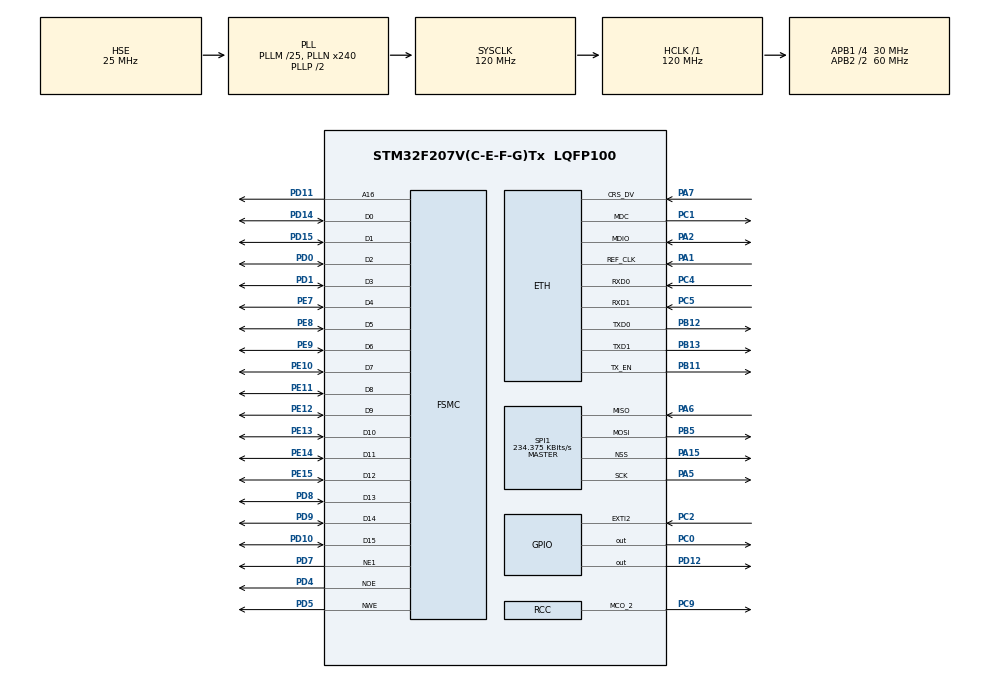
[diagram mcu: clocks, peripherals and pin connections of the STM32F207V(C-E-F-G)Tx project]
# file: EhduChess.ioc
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ETH.ChecksumMode=ETH_CHECKSUM_BY_SOFTWARE
ETH.MediaInterface=ETH_MEDIA_INTERFACE_RMII
ETH.PHY_Name_RMII=DP83848_PHY_ADDRESS
FSMC.AddressSetupTime1=6
FSMC.BusTurnAroundDuration1=1
FSMC.DataSetupTime1=9
LWIP.CHECKSUM_CHECK_ICMP=0
LWIP.CHECKSUM_CHECK_ICMP6=0
LWIP.CHECKSUM_CHECK_IP=1
LWIP.CHECKSUM_CHECK_TCP=1
LWIP.CHECKSUM_CHECK_UDP=0
LWIP.CHECKSUM_GEN_ICMP=0
LWIP.CHECKSUM_GEN_ICMP6=0
LWIP.CHECKSUM_GEN_IP=1
LWIP.CHECKSUM_GEN_TCP=1
LWIP.CHECKSUM_GEN_UDP=0
LWIP.DNS_DOES_NAME_CHECK=0
LWIP.GATEWAY_ADDRESS=169.254.082.059
LWIP.IP_ADDRESS=169.254.082.233
LWIP.LWIP_DBG_MIN_LEVEL=LWIP_DBG_MASK_LEVEL
LWIP.LWIP_DHCP=0
LWIP.LWIP_EVENT_API=0
LWIP.LWIP_HTTPD=0
LWIP.LWIP_ICMP=0
LWIP.LWIP_IPV6=0
LWIP.LWIP_NETIF_LINK_CALLBACK=0
LWIP.LWIP_RAW=0
LWIP.LWIP_STATS=0
LWIP.LWIP_UDP=0
LWIP.MEMP_NUM_TCP_PCB=5
LWIP.MEMP_NUM_UDP_PCB=0
LWIP.NETMASK_ADDRESS=255.255.255.000
LWIP.Version=v2.0.3_Cube
Mcu.Family=STM32F2
Mcu.Name=STM32F207V(C-E-F-G)Tx
Mcu.Package=LQFP100
NVIC.EXTI2_IRQn=true\:0\:0\:false\:false\:true\:true\:true\:true
NVIC.PriorityGroup=NVIC_PRIORITYGROUP_2
PA1.Mode=RMII
PA1.Signal=ETH_REF_CLK
PA13.Mode=Serial_Wire
PA13.Signal=SYS_JTMS-SWDIO
PA14.Mode=Serial_Wire
PA14.Signal=SYS_JTCK-SWCLK
PA15.GPIO_PuPd=GPIO_PULLUP
PA15.Mode=NSS_Signal_Hard_Output
PA15.Signal=SPI1_NSS
PA2.Mode=RMII
PA2.Signal=ETH_MDIO
PA5.GPIO_PuPd=GPIO_PULLUP
PA5.Mode=Full_Duplex_Master
PA5.Signal=SPI1_SCK
PA6.GPIO_PuPd=GPIO_PULLUP
PA6.Mode=Full_Duplex_Master
PA6.Signal=SPI1_MISO
PA7.Mode=RMII
PA7.Signal=ETH_CRS_DV
PB11.Mode=RMII
PB11.Signal=ETH_TX_EN
PB12.Mode=RMII
PB12.Signal=ETH_TXD0
PB13.Mode=RMII
PB13.Signal=ETH_TXD1
PB5.GPIO_PuPd=GPIO_PULLUP
PB5.Mode=Full_Duplex_Master
PB5.Signal=SPI1_MOSI
PC0.GPIO_PuPd=GPIO_NOPULL
PC0.PinState=GPIO_PIN_RESET
PC0.Signal=GPIO_Output
PC1.Mode=RMII
PC1.Signal=ETH_MDC
PC2.GPIO_ModeDefaultEXTI=GPIO_MODE_IT_FALLING
PC2.GPIO_PuPd=GPIO_PULLUP
PC2.Signal=GPXTI2
PC4.Mode=RMII
PC4.Signal=ETH_RXD0
PC5.Mode=RMII
PC5.Signal=ETH_RXD1
PC9.Mode=Clock-out-2
PC9.Signal=RCC_MCO_2
PD0.GPIO_Speed_High_Default=GPIO_SPEED_FREQ_LOW
PD0.Mode=16b-d1
PD0.Signal=FSMC_D2
PD1.GPIO_Speed_High_Default=GPIO_SPEED_FREQ_LOW
PD1.Mode=16b-d1
PD1.Signal=FSMC_D3
PD10.GPIO_Speed_High_Default=GPIO_SPEED_FREQ_LOW
PD10.Mode=16b-d1
PD10.Signal=FSMC_D15
PD11.GPIO_Speed_High_Default=GPIO_SPEED_FREQ_LOW
PD11.Mode=A16_1
PD11.Signal=FSMC_A16
PD12.GPIO_PuPd=GPIO_NOPULL
PD12.Signal=GPIO_Output
PD14.GPIO_Speed_High_Default=GPIO_SPEED_FREQ_LOW
PD14.Mode=16b-d1
PD14.Signal=FSMC_D0
PD15.GPIO_Speed_High_Default=GPIO_SPEED_FREQ_LOW
PD15.Mode=16b-d1
PD15.Signal=FSMC_D1
PD4.GPIO_Speed_High_Default=GPIO_SPEED_FREQ_LOW
PD4.Mode=Lcd1
PD4.Signal=FSMC_NOE
PD5.GPIO_Speed_High_Default=GPIO_SPEED_FREQ_LOW
PD5.Mode=Lcd1
PD5.Signal=FSMC_NWE
PD7.GPIO_Speed_High_Default=GPIO_SPEED_FREQ_LOW
PD7.Mode=NorPsramChipSelect1_1
PD7.Signal=FSMC_NE1
PD8.GPIO_Speed_High_Default=GPIO_SPEED_FREQ_LOW
PD8.Mode=16b-d1
PD8.Signal=FSMC_D13
PD9.GPIO_Speed_High_Default=GPIO_SPEED_FREQ_LOW
PD9.Mode=16b-d1
PD9.Signal=FSMC_D14
PE10.GPIO_Speed_High_Default=GPIO_SPEED_FREQ_LOW
PE10.Mode=16b-d1
PE10.Signal=FSMC_D7
PE11.GPIO_Speed_High_Default=GPIO_SPEED_FREQ_LOW
PE11.Mode=16b-d1
PE11.Signal=FSMC_D8
PE12.GPIO_Speed_High_Default=GPIO_SPEED_FREQ_LOW
PE12.Mode=16b-d1
PE12.Signal=FSMC_D9
PE13.GPIO_Speed_High_Default=GPIO_SPEED_FREQ_LOW
PE13.Mode=16b-d1
PE13.Signal=FSMC_D10
PE14.GPIO_Speed_High_Default=GPIO_SPEED_FREQ_LOW
PE14.Mode=16b-d1
PE14.Signal=FSMC_D11
PE15.GPIO_Speed_High_Default=GPIO_SPEED_FREQ_LOW
PE15.Mode=16b-d1
PE15.Signal=FSMC_D12
PE7.GPIO_Speed_High_Default=GPIO_SPEED_FREQ_LOW
PE7.Mode=16b-d1
PE7.Signal=FSMC_D4
PE8.GPIO_Speed_High_Default=GPIO_SPEED_FREQ_LOW
PE8.Mode=16b-d1
PE8.Signal=FSMC_D5
PE9.GPIO_Speed_High_Default=GPIO_SPEED_FREQ_LOW
PE9.Mode=16b-d1
PE9.Signal=FSMC_D6
PH0-OSC_IN.Mode=HSE-External-Oscillator
PH0-OSC_IN.Signal=RCC_OSC_IN
PH1-OSC_OUT.Mode=HSE-External-Oscillator
PH1-OSC_OUT.Signal=RCC_OSC_OUT
ProjectManager.HeapSize=0x200
ProjectManager.StackSize=0x400
ProjectManager.TargetToolchain=STM32CubeIDE
RCC.48MHZClocksFreq_Value=60000000
RCC.AHBFreq_Value=120000000
RCC.APB1CLKDivider=RCC_HCLK_DIV4
RCC.APB1Freq_Value=30000000
RCC.APB1TimFreq_Value=60000000
RCC.APB2CLKDivider=RCC_HCLK_DIV2
RCC.APB2Freq_Value=60000000
RCC.APB2TimFreq_Value=120000000
RCC.CortexFreq_Value=120000000
RCC.HCLKFreq_Value=120000000
RCC.HSE_VALUE=25000000
RCC.HSI_VALUE=16000000
RCC.LSE_VALUE=32768
RCC.PLLI2SN=200
RCC.PLLM=25
RCC.PLLN=240
RCC.PLLSourceVirtual=RCC_PLLSOURCE_HSE
RCC.RCC_MCO2Source=RCC_MCO2SOURCE_PLLI2SCLK
RCC.RCC_MCODiv2=RCC_MCODIV_2
RCC.SYSCLKFreq_VALUE=120000000
RCC.SYSCLKSource=RCC_SYSCLKSOURCE_PLLCLK
RCC.VCOOutputFreq_Value=240000000
SPI1.BaudRatePrescaler=SPI_BAUDRATEPRESCALER_256
SPI1.CRCCalculation=SPI_CRCCALCULATION_DISABLE
SPI1.CalculateBaudRate=234.375 KBits/s
SPI1.Direction=SPI_DIRECTION_2LINES
SPI1.Mode=SPI_MODE_MASTER
SPI1.TIMode=SPI_TIMODE_DISABLE
SPI1.VirtualNSS=VM_NSSHARD
SPI1.VirtualType=VM_MASTER
VP_LWIP_VS_Enabled.Mode=Enabled
board=custom

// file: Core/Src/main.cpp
/* USER CODE BEGIN Header */
/**
  ******************************************************************************
  * @file           : main.c
  * @brief          : Main program body
  ******************************************************************************
  * @attention
  *
  * Copyright (c) 2022 STMicroelectronics.
  * All rights reserved.
  *
  * This software is licensed under terms that can be found in the LICENSE file
  * in the root directory of this software component.
  * If no LICENSE file comes with this software, it is provided AS-IS.
  *
  ******************************************************************************
  */
/* USER CODE END Header */
#include "main.h"
#include "lwip.h"

/* USER CODE BEGIN Includes */
#include "Controller.h"
#include "Ethernet.h"
#include "TftLcd.h"

using namespace std;
using namespace ehdu;
/* USER CODE END Includes */

 SPI_HandleTypeDef hspi1;

SRAM_HandleTypeDef hsram1;

/* USER CODE BEGIN PV */
Controller *ctrl = nullptr;
/* USER CODE END PV */

void SystemClock_Config(void);
static void MX_GPIO_Init(void);
static void MX_FSMC_Init(void);
static void MX_SPI1_Init(void);

int main(void)
{

  /* MCU Configuration--------------------------------------------------------*/

  /* Reset of all peripherals, Initializes the Flash interface and the Systick. */
  HAL_Init();

  /* Configure the system clock */
  SystemClock_Config();

  /* Initialize all configured peripherals */
  MX_GPIO_Init();
  MX_FSMC_Init();
  MX_SPI1_Init();
  MX_LWIP_Init();
  /* USER CODE BEGIN 2 */
  HAL_GPIO_WritePin(GPIOC, GPIO_PIN_0, GPIO_PIN_SET);
  HAL_GPIO_WritePin(GPIOD, GPIO_PIN_12, GPIO_PIN_SET);
  HAL_GPIO_WritePin(GPIOA, GPIO_PIN_15, GPIO_PIN_SET);
  ctrl = new Controller;
  TftLcd::getInstance()->setController(ctrl);
  TftLcd::getInstance()->setSpi(&hspi1);
  Ethernet::getInstance()->setController(ctrl);
  /* USER CODE END 2 */

  /* Infinite loop */
  /* USER CODE BEGIN WHILE */
  while (1)
  {
	MX_LWIP_Process();
	ctrl->process();
    /* USER CODE END WHILE */

  }
}

void SystemClock_Config(void)
{
  RCC_OscInitTypeDef RCC_OscInitStruct = {0};
  RCC_ClkInitTypeDef RCC_ClkInitStruct = {0};
  RCC_PeriphCLKInitTypeDef PeriphClkInitStruct = {0};

  /** Initializes the RCC Oscillators according to the specified parameters
  * in the RCC_OscInitTypeDef structure.
  */
  RCC_OscInitStruct.OscillatorType = RCC_OSCILLATORTYPE_HSE;
  RCC_OscInitStruct.HSEState = RCC_HSE_ON;
  RCC_OscInitStruct.PLL.PLLState = RCC_PLL_ON;
  RCC_OscInitStruct.PLL.PLLSource = RCC_PLLSOURCE_HSE;
  RCC_OscInitStruct.PLL.PLLM = 25;
  RCC_OscInitStruct.PLL.PLLN = 240;
  RCC_OscInitStruct.PLL.PLLP = RCC_PLLP_DIV2;
  RCC_OscInitStruct.PLL.PLLQ = 4;
  if (HAL_RCC_OscConfig(&RCC_OscInitStruct) != HAL_OK)
  {
    Error_Handler();
  }

  /** Initializes the CPU, AHB and APB buses clocks
  */
  RCC_ClkInitStruct.ClockType = RCC_CLOCKTYPE_HCLK|RCC_CLOCKTYPE_SYSCLK
                              |RCC_CLOCKTYPE_PCLK1|RCC_CLOCKTYPE_PCLK2;
  RCC_ClkInitStruct.SYSCLKSource = RCC_SYSCLKSOURCE_PLLCLK;
  RCC_ClkInitStruct.AHBCLKDivider = RCC_SYSCLK_DIV1;
  RCC_ClkInitStruct.APB1CLKDivider = RCC_HCLK_DIV4;
  RCC_ClkInitStruct.APB2CLKDivider = RCC_HCLK_DIV2;

  if (HAL_RCC_ClockConfig(&RCC_ClkInitStruct, FLASH_LATENCY_3) != HAL_OK)
  {
    Error_Handler();
  }
  PeriphClkInitStruct.PeriphClockSelection = RCC_PERIPHCLK_I2S;
  PeriphClkInitStruct.PLLI2S.PLLI2SN = 200;
  PeriphClkInitStruct.PLLI2S.PLLI2SR = 2;
  if (HAL_RCCEx_PeriphCLKConfig(&PeriphClkInitStruct) != HAL_OK)
  {
    Error_Handler();
  }
  HAL_RCC_MCOConfig(RCC_MCO2, RCC_MCO2SOURCE_PLLI2SCLK, RCC_MCODIV_2);
}

static void MX_SPI1_Init(void)
{

  /* SPI1 parameter configuration*/
  hspi1.Instance = SPI1;
  hspi1.Init.Mode = SPI_MODE_MASTER;
  hspi1.Init.Direction = SPI_DIRECTION_2LINES;
  hspi1.Init.DataSize = SPI_DATASIZE_8BIT;
  hspi1.Init.CLKPolarity = SPI_POLARITY_LOW;
  hspi1.Init.CLKPhase = SPI_PHASE_1EDGE;
  hspi1.Init.NSS = SPI_NSS_HARD_OUTPUT;
  hspi1.Init.BaudRatePrescaler = SPI_BAUDRATEPRESCALER_256;
  hspi1.Init.FirstBit = SPI_FIRSTBIT_MSB;
  hspi1.Init.TIMode = SPI_TIMODE_DISABLE;
  hspi1.Init.CRCCalculation = SPI_CRCCALCULATION_DISABLE;
  hspi1.Init.CRCPolynomial = 10;
  if (HAL_SPI_Init(&hspi1) != HAL_OK)
  {
    Error_Handler();
  }

}

static void MX_GPIO_Init(void)
{
  GPIO_InitTypeDef GPIO_InitStruct = {0};

  /* GPIO Ports Clock Enable */
  __HAL_RCC_GPIOE_CLK_ENABLE();
  __HAL_RCC_GPIOC_CLK_ENABLE();
  __HAL_RCC_GPIOH_CLK_ENABLE();
  __HAL_RCC_GPIOA_CLK_ENABLE();
  __HAL_RCC_GPIOB_CLK_ENABLE();
  __HAL_RCC_GPIOD_CLK_ENABLE();

  /*Configure GPIO pin Output Level */
  HAL_GPIO_WritePin(GPIOC, GPIO_PIN_0, GPIO_PIN_RESET);

  /*Configure GPIO pin Output Level */
  HAL_GPIO_WritePin(GPIOD, GPIO_PIN_12, GPIO_PIN_RESET);

  /*Configure GPIO pins : PE2 PE3 PE4 PE5
                           PE6 PE0 PE1 */
  GPIO_InitStruct.Pin = GPIO_PIN_2|GPIO_PIN_3|GPIO_PIN_4|GPIO_PIN_5
                          |GPIO_PIN_6|GPIO_PIN_0|GPIO_PIN_1;
  GPIO_InitStruct.Mode = GPIO_MODE_ANALOG;
  GPIO_InitStruct.Pull = GPIO_NOPULL;
  HAL_GPIO_Init(GPIOE, &GPIO_InitStruct);

  /*Configure GPIO pins : PC13 PC14 PC15 PC3
                           PC6 PC7 PC8 PC10
                           PC11 PC12 */
  GPIO_InitStruct.Pin = GPIO_PIN_13|GPIO_PIN_14|GPIO_PIN_15|GPIO_PIN_3
                          |GPIO_PIN_6|GPIO_PIN_7|GPIO_PIN_8|GPIO_PIN_10
                          |GPIO_PIN_11|GPIO_PIN_12;
  GPIO_InitStruct.Mode = GPIO_MODE_ANALOG;
  GPIO_InitStruct.Pull = GPIO_NOPULL;
  HAL_GPIO_Init(GPIOC, &GPIO_InitStruct);

  /*Configure GPIO pin : PC0 */
  GPIO_InitStruct.Pin = GPIO_PIN_0;
  GPIO_InitStruct.Mode = GPIO_MODE_OUTPUT_PP;
  GPIO_InitStruct.Pull = GPIO_NOPULL;
  GPIO_InitStruct.Speed = GPIO_SPEED_FREQ_LOW;
  HAL_GPIO_Init(GPIOC, &GPIO_InitStruct);

  /*Configure GPIO pin : PC2 */
  GPIO_InitStruct.Pin = GPIO_PIN_2;
  GPIO_InitStruct.Mode = GPIO_MODE_IT_FALLING;
  GPIO_InitStruct.Pull = GPIO_PULLUP;
  HAL_GPIO_Init(GPIOC, &GPIO_InitStruct);

  /*Configure GPIO pins : PA0 PA3 PA4 PA8
                           PA9 PA10 PA11 PA12 */
  GPIO_InitStruct.Pin = GPIO_PIN_0|GPIO_PIN_3|GPIO_PIN_4|GPIO_PIN_8
                          |GPIO_PIN_9|GPIO_PIN_10|GPIO_PIN_11|GPIO_PIN_12;
  GPIO_InitStruct.Mode = GPIO_MODE_ANALOG;
  GPIO_InitStruct.Pull = GPIO_NOPULL;
  HAL_GPIO_Init(GPIOA, &GPIO_InitStruct);

  /*Configure GPIO pins : PB0 PB1 PB2 PB10
                           PB14 PB15 PB3 PB4
                           PB6 PB7 PB8 PB9 */
  GPIO_InitStruct.Pin = GPIO_PIN_0|GPIO_PIN_1|GPIO_PIN_2|GPIO_PIN_10
                          |GPIO_PIN_14|GPIO_PIN_15|GPIO_PIN_3|GPIO_PIN_4
                          |GPIO_PIN_6|GPIO_PIN_7|GPIO_PIN_8|GPIO_PIN_9;
  GPIO_InitStruct.Mode = GPIO_MODE_ANALOG;
  GPIO_InitStruct.Pull = GPIO_NOPULL;
  HAL_GPIO_Init(GPIOB, &GPIO_InitStruct);

  /*Configure GPIO pin : PD12 */
  GPIO_InitStruct.Pin = GPIO_PIN_12;
  GPIO_InitStruct.Mode = GPIO_MODE_OUTPUT_PP;
  GPIO_InitStruct.Pull = GPIO_NOPULL;
  GPIO_InitStruct.Speed = GPIO_SPEED_FREQ_LOW;
  HAL_GPIO_Init(GPIOD, &GPIO_InitStruct);

  /*Configure GPIO pins : PD13 PD2 PD3 PD6 */
  GPIO_InitStruct.Pin = GPIO_PIN_13|GPIO_PIN_2|GPIO_PIN_3|GPIO_PIN_6;
  GPIO_InitStruct.Mode = GPIO_MODE_ANALOG;
  GPIO_InitStruct.Pull = GPIO_NOPULL;
  HAL_GPIO_Init(GPIOD, &GPIO_InitStruct);

  /*Configure GPIO pin : PC9 */
  GPIO_InitStruct.Pin = GPIO_PIN_9;
  GPIO_InitStruct.Mode = GPIO_MODE_AF_PP;
  GPIO_InitStruct.Pull = GPIO_NOPULL;
  GPIO_InitStruct.Speed = GPIO_SPEED_FREQ_LOW;
  GPIO_InitStruct.Alternate = GPIO_AF0_MCO;
  HAL_GPIO_Init(GPIOC, &GPIO_InitStruct);

  /* EXTI interrupt init*/
  HAL_NVIC_SetPriority(EXTI2_IRQn, 0, 0);
  HAL_NVIC_EnableIRQ(EXTI2_IRQn);

}

/* FSMC initialization function */
static void MX_FSMC_Init(void)
{

  FSMC_NORSRAM_TimingTypeDef Timing = {0};

  /** Perform the SRAM1 memory initialization sequence
  */
  hsram1.Instance = FSMC_NORSRAM_DEVICE;
  hsram1.Extended = FSMC_NORSRAM_EXTENDED_DEVICE;
  /* hsram1.Init */
  hsram1.Init.NSBank = FSMC_NORSRAM_BANK1;
  hsram1.Init.DataAddressMux = FSMC_DATA_ADDRESS_MUX_DISABLE;
  hsram1.Init.MemoryType = FSMC_MEMORY_TYPE_SRAM;
  hsram1.Init.MemoryDataWidth = FSMC_NORSRAM_MEM_BUS_WIDTH_16;
  hsram1.Init.BurstAccessMode = FSMC_BURST_ACCESS_MODE_DISABLE;
  hsram1.Init.WaitSignalPolarity = FSMC_WAIT_SIGNAL_POLARITY_LOW;
  hsram1.Init.WrapMode = FSMC_WRAP_MODE_DISABLE;
  hsram1.Init.WaitSignalActive = FSMC_WAIT_TIMING_BEFORE_WS;
  hsram1.Init.WriteOperation = FSMC_WRITE_OPERATION_ENABLE;
  hsram1.Init.WaitSignal = FSMC_WAIT_SIGNAL_DISABLE;
  hsram1.Init.ExtendedMode = FSMC_EXTENDED_MODE_DISABLE;
  hsram1.Init.AsynchronousWait = FSMC_ASYNCHRONOUS_WAIT_DISABLE;
  hsram1.Init.WriteBurst = FSMC_WRITE_BURST_DISABLE;
  /* Timing */
  Timing.AddressSetupTime = 6;
  Timing.AddressHoldTime = 15;
  Timing.DataSetupTime = 9;
  Timing.BusTurnAroundDuration = 1;
  Timing.CLKDivision = 16;
  Timing.DataLatency = 17;
  Timing.AccessMode = FSMC_ACCESS_MODE_A;
  /* ExtTiming */

  if (HAL_SRAM_Init(&hsram1, &Timing, NULL) != HAL_OK)
  {
    Error_Handler( );
  }

}

void Error_Handler(void)
{
  __disable_irq();
  while (1)
  {
  }
}
